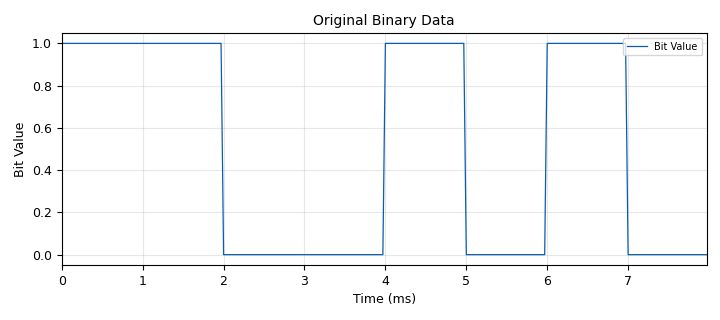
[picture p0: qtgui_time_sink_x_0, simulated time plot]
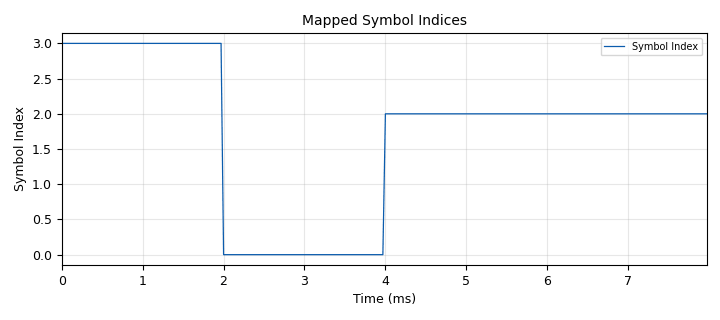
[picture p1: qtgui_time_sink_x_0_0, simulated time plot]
options:
  parameters:
    author: Dhrubjun
    generate_options: qt_gui
    id: exp5
    output_language: python
    title: Mapping Bits to Symbols
  states: {}

blocks:
- name: bit_rate
  id: variable_qtgui_range
  parameters:
    label: Bit Rate (bit/s)
    start: '500'
    step: '500'
    stop: '4000'
    value: '1000'
  states: {}
- name: samp_rate
  id: variable
  parameters:
    value: '32000'
  states: {}
- name: samples_per_bit
  id: variable
  parameters:
    value: int(samp_rate / bit_rate)
  states: {}
- name: blocks_repack_bits_bb_0_0
  id: blocks_repack_bits_bb
  parameters:
    endianness: gr.GR_MSB_FIRST
    k: '1'
    l: '2'
  states: {}
- name: blocks_repeat_0
  id: blocks_repeat
  parameters:
    interp: samples_per_bit
    type: float
  states: {}
- name: blocks_repeat_0_0
  id: blocks_repeat
  parameters:
    interp: 2*samples_per_bit
    type: float
  states: {}
- name: blocks_throttle2_0
  id: blocks_throttle2
  parameters:
    samples_per_second: samp_rate
    type: float
  states: {}
- name: blocks_throttle2_0_0
  id: blocks_throttle2
  parameters:
    samples_per_second: samp_rate
    type: float
  states: {}
- name: blocks_uchar_to_float_0
  id: blocks_uchar_to_float
  parameters: {}
  states: {}
- name: blocks_uchar_to_float_0_0
  id: blocks_uchar_to_float
  parameters: {}
  states: {}
- name: blocks_vector_source_x_0
  id: blocks_vector_source_x
  parameters:
    repeat: 'True'
    type: byte
    vector: (1, 0, 1, 1, 0, 0, 1, 0)
  states: {}
- name: qtgui_time_sink_x_0
  id: qtgui_time_sink_x
  parameters:
    autoscale: 'True'
    grid: 'True'
    gui_hint: (0,0,1,1)
    label1: Bit Value
    name: Original Binary Data
    size: '256'
    srate: samp_rate
    type: float
    ylabel: Bit Value
    ymax: '1.2'
    ymin: '-0.2'
  states: {}
- name: qtgui_time_sink_x_0_0
  id: qtgui_time_sink_x
  parameters:
    autoscale: 'True'
    grid: 'True'
    gui_hint: (0,1,1,1)
    label1: Symbol Index
    name: Mapped Symbol Indices
    size: '256'
    srate: samp_rate
    type: float
    ylabel: Symbol Index
    ymax: '3.5'
    ymin: '-0.5'
  states: {}

connections:
- [blocks_repack_bits_bb_0_0, '0', blocks_uchar_to_float_0_0, '0']
- [blocks_repeat_0, '0', blocks_throttle2_0, '0']
- [blocks_repeat_0_0, '0', blocks_throttle2_0_0, '0']
- [blocks_throttle2_0, '0', qtgui_time_sink_x_0, '0']
- [blocks_throttle2_0_0, '0', qtgui_time_sink_x_0_0, '0']
- [blocks_uchar_to_float_0, '0', blocks_repeat_0, '0']
- [blocks_uchar_to_float_0_0, '0', blocks_repeat_0_0, '0']
- [blocks_vector_source_x_0, '0', blocks_repack_bits_bb_0_0, '0']
- [blocks_vector_source_x_0, '0', blocks_uchar_to_float_0, '0']

metadata:
  file_format: 1
  grc_version: 3.10.12.0
